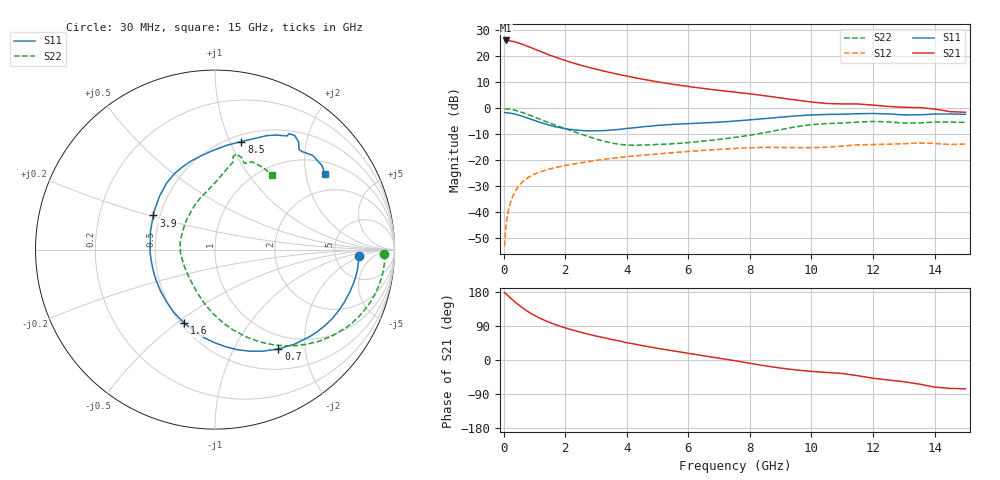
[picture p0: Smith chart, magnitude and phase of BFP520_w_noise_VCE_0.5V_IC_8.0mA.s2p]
! Infineon Technologies  Discrete & RF Semiconductors
! BFP520
! VCE =  0.5 V,  IC =  8.0 mA
! Common Emitter S-Parameters:  Oct 2015
# GHz  S  MA  R  50
!  f  S11  S21  S12  S22
! GHz  MAG  ANG  MAG  ANG  MAG  ANG  MAG  ANG
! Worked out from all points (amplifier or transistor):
!   109 points, 30 MHz to 15 GHz, reference 50 ohm
!   highest |S21| = 25.8 dB at 70 MHz (marker M1)
!   |S21| within 3 dB of that: start of sweep to 941.1 MHz
!   unconditionally stable (mu >= 1): 3.303 GHz to end of sweep
!   at 450 MHz: K = 0.21, MSG = 27.8 dB, |S12| = -30.7 dB
!   at 4 GHz: K = 1.08, MAG = 13.7 dB, |S12| = -18.8 dB
!   at 15 GHz: K = 1.35, MAG = 2.6 dB, |S12| = -13.9 dB
!   lowest NFmin = 1.40 dB at 900 MHz
!   S11 on the Smith chart (normalised r, x): 30 MHz: 8.83, -1.90; 700 MHz: 0.78, -1.53; 1.6 GHz: 0.52, -0.53; 3.9 GHz: 0.46, +0.21; 8.5 GHz: 0.57, +1.10; 15 GHz: 1.36, +2.58
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0.03  0.8047 -2.7  19.52 177.9  0.0022 89.7  0.944 -1.6
0.07  0.8012 -6.3  19.54 174.5  0.0049 86.7  0.9464 -4.2
0.14  0.7952 -12.4  19.39 169.6  0.0098 83.7  0.9425 -8.8
0.25  0.7784 -21.9  18.99 161.5  0.0171 79.0  0.9247 -15.9
0.4  0.7455 -34.4  18.09 151.0  0.0263 72.6  0.884 -25.0
0.6  0.6878 -50.1  16.58 138.3  0.0371 65.3  0.8134 -36.0
0.7  0.6566 -57.5  15.75 132.5  0.0418 62.1  0.7746 -41.1
0.9  0.5982 -71.2  14.15 122.3  0.0496 56.7  0.6983 -50.0
1.1  0.5439 -83.9  12.67 113.4  0.0562 52.5  0.6271 -57.9
1.3  0.4982 -95.9  11.37 105.7  0.0618 49.0  0.564 -64.9
1.6  0.4428 -112.9  9.716 95.8  0.0691 45.0  0.4813 -74.3
2  0.3961 -133.3  8.055 84.8  0.0778 40.9  0.396 -85.6
2.6  0.3634 -161.5  6.306 71.1  0.0898 35.7  0.2994 -102.4
3  0.3622 -178.0  5.477 63.2  0.0975 32.6  0.2511 -115.0
3.9  0.3929 151.0  4.16 47.6  0.1132 25.2  0.1947 -150.4
5.1  0.4621 124.3  3.069 29.5  0.1311 16.1  0.1984 165.5
6  0.495 111.5  2.556 17.5  0.1448 9.3  0.2146 143.3
7.6  0.5596 89.2  1.964 -3.1  0.1663 -4.4  0.274 113.5
8.5  0.6195 76.3  1.69 -15.4  0.1733 -13.4  0.3322 97.0
10.5  0.7427 58.7  1.203 -32.9  0.174 -25.0  0.4958 78.4
13  0.7282 50.0  1.02 -57.3  0.2039 -44.5  0.5078 71.3
15  0.7444 34.5  0.819 -76.0  0.2013 -60.0  0.5227 52.8
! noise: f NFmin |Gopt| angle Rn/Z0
0.45  1.42  0.36  1  0.29
0.9  1.4  0.34  8  0.32
1.9  1.59  0.3  17  0.26
2.4  1.61  0.26  29  0.27
3.5  1.56  0.24  52  0.26
